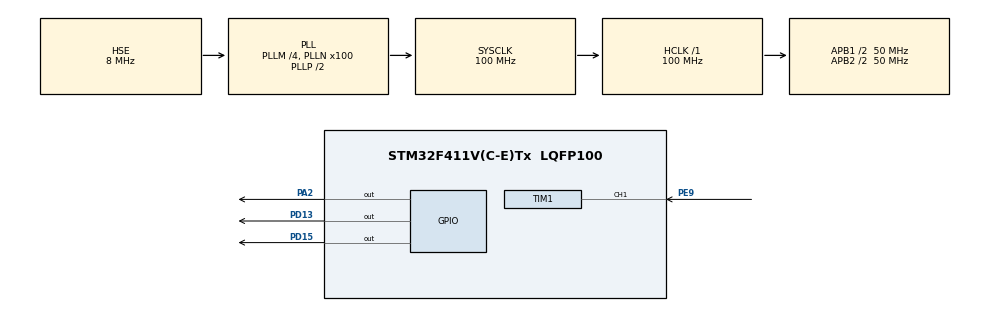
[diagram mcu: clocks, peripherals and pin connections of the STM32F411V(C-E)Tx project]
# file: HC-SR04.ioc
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Mcu.Family=STM32F4
Mcu.Name=STM32F411V(C-E)Tx
Mcu.Package=LQFP100
NVIC.PriorityGroup=NVIC_PRIORITYGROUP_0
NVIC.TIM1_CC_IRQn=true\:0\:0\:false\:false\:true\:true\:true
PA2.Signal=GPIO_Output
PD13.Signal=GPIO_Output
PD15.Signal=GPIO_Output
PE9.Signal=S_TIM1_CH1
PH0\ -\ OSC_IN.Mode=HSE-External-Oscillator
PH0\ -\ OSC_IN.Signal=RCC_OSC_IN
PH1\ -\ OSC_OUT.Mode=HSE-External-Oscillator
PH1\ -\ OSC_OUT.Signal=RCC_OSC_OUT
ProjectManager.HeapSize=0x200
ProjectManager.StackSize=0x400
ProjectManager.TargetToolchain=STM32CubeIDE
RCC.48MHZClocksFreq_Value=25000000
RCC.AHBFreq_Value=100000000
RCC.APB1CLKDivider=RCC_HCLK_DIV2
RCC.APB1Freq_Value=50000000
RCC.APB1TimFreq_Value=100000000
RCC.APB2CLKDivider=RCC_HCLK_DIV2
RCC.APB2Freq_Value=50000000
RCC.APB2TimFreq_Value=100000000
RCC.CortexFreq_Value=100000000
RCC.HCLKFreq_Value=100000000
RCC.HSE_VALUE=8000000
RCC.HSI_VALUE=16000000
RCC.LSE_VALUE=32768
RCC.PLLI2SM=5
RCC.PLLI2SN=200
RCC.PLLM=4
RCC.PLLN=100
RCC.PLLQ=8
RCC.PLLSourceVirtual=RCC_PLLSOURCE_HSE
RCC.SYSCLKFreq_VALUE=100000000
RCC.SYSCLKSource=RCC_SYSCLKSOURCE_PLLCLK
RCC.VCOOutputFreq_Value=200000000
SH.S_TIM1_CH1.0=TIM1_CH1,Input_Capture1_from_TI1
TIM1.Channel-Input_Capture1_from_TI1=TIM_CHANNEL_1
TIM1.Period=0xffff-1
TIM1.Prescaler=100-1
board=STM32F411E-DISCO

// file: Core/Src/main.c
/* USER CODE BEGIN Header */
/**
  ******************************************************************************
  * @file           : main.c
  * @brief          : Main program body
  ******************************************************************************
  * @attention
  *
  * <h2><center>&copy; Copyright (c) 2021 STMicroelectronics.
  * All rights reserved.</center></h2>
  *
  * This software component is licensed by ST under BSD 3-Clause license,
  * the "License"; You may not use this file except in compliance with the
  * License. You may obtain a copy of the License at:
  *                        opensource.org/licenses/BSD-3-Clause
  *
  ******************************************************************************
  */
/* USER CODE END Header */
#include "main.h"

TIM_HandleTypeDef htim1;

void SystemClock_Config(void);
static void MX_GPIO_Init(void);
static void MX_TIM1_Init(void);

/* USER CODE BEGIN 0 */

void delay (uint16_t time)
{
	__HAL_TIM_SET_COUNTER(&htim1, 0);
	while (__HAL_TIM_GET_COUNTER (&htim1) < time);
}

uint32_t IC_Val1 = 0;
uint32_t IC_Val2 = 0;
uint32_t Difference = 0;
uint8_t Is_First_Captured = 0;  // is the first value captured ?
uint8_t Distance  = 0;

void HAL_TIM_IC_CaptureCallback(TIM_HandleTypeDef *htim)
{
	if (htim->Channel == HAL_TIM_ACTIVE_CHANNEL_1)  // if the interrupt source is channel1
	{
		if (Is_First_Captured==0) // if the first value is not captured
		{
			IC_Val1 = HAL_TIM_ReadCapturedValue(htim, TIM_CHANNEL_1); // read the first value
			Is_First_Captured = 1;  // set the first captured as true
			// Now change the polarity to falling edge
			__HAL_TIM_SET_CAPTUREPOLARITY(htim, TIM_CHANNEL_1, TIM_INPUTCHANNELPOLARITY_FALLING);
		}

		else if (Is_First_Captured==1)   // if the first is already captured
		{
			IC_Val2 = HAL_TIM_ReadCapturedValue(htim, TIM_CHANNEL_1);  // read second value
			__HAL_TIM_SET_COUNTER(htim, 0);  // reset the counter

			if (IC_Val2 > IC_Val1)
			{
				Difference = IC_Val2-IC_Val1;
			}

			else if (IC_Val1 > IC_Val2)
			{
				Difference = (0xffff - IC_Val1) + IC_Val2;
			}

			Distance = Difference * .034/2;
			//Distance = Difference;
			Is_First_Captured = 0; // set it back to false

			// set polarity to rising edge
			__HAL_TIM_SET_CAPTUREPOLARITY(htim, TIM_CHANNEL_1, TIM_INPUTCHANNELPOLARITY_RISING);
			__HAL_TIM_DISABLE_IT(&htim1, TIM_IT_CC1);
		}
	}
}

void HCSR04_Read (void)
{
	HAL_GPIO_WritePin(GPIOA, GPIO_PIN_2, GPIO_PIN_SET); // pull the TRIG pin HIGH
	delay(10);  // wait for 10 us
	HAL_GPIO_WritePin(GPIOA, GPIO_PIN_2, GPIO_PIN_RESET);// pull the TRIG pin low

	__HAL_TIM_ENABLE_IT(&htim1, TIM_IT_CC1);
}

/* USER CODE END 0 */

int main(void)
{

  /* MCU Configuration--------------------------------------------------------*/

  /* Reset of all peripherals, Initializes the Flash interface and the Systick. */
  HAL_Init();

  /* Configure the system clock */
  SystemClock_Config();

  /* Initialize all configured peripherals */
  MX_GPIO_Init();
  MX_TIM1_Init();
  /* USER CODE BEGIN 2 */
  HAL_TIM_IC_Start_IT(&htim1, TIM_CHANNEL_1);
  /* USER CODE END 2 */

  /* Infinite loop */
  while (1)
  {

    /* USER CODE BEGIN 3 */
	HCSR04_Read();
	HAL_Delay(1000);
	if(Distance<10){
		HAL_GPIO_WritePin(GPIOD,GPIO_PIN_15,1);
		HAL_GPIO_WritePin(GPIOD,GPIO_PIN_13,0);
		}
	else{
		HAL_GPIO_WritePin(GPIOD,GPIO_PIN_15,0);
		HAL_GPIO_WritePin(GPIOD,GPIO_PIN_13,1);
	}

  }
  /* USER CODE END 3 */
}

void SystemClock_Config(void)
{
  RCC_OscInitTypeDef RCC_OscInitStruct = {0};
  RCC_ClkInitTypeDef RCC_ClkInitStruct = {0};

  /** Configure the main internal regulator output voltage
  */
  __HAL_RCC_PWR_CLK_ENABLE();
  __HAL_PWR_VOLTAGESCALING_CONFIG(PWR_REGULATOR_VOLTAGE_SCALE1);
  /** Initializes the RCC Oscillators according to the specified parameters
  * in the RCC_OscInitTypeDef structure.
  */
  RCC_OscInitStruct.OscillatorType = RCC_OSCILLATORTYPE_HSE;
  RCC_OscInitStruct.HSEState = RCC_HSE_ON;
  RCC_OscInitStruct.PLL.PLLState = RCC_PLL_ON;
  RCC_OscInitStruct.PLL.PLLSource = RCC_PLLSOURCE_HSE;
  RCC_OscInitStruct.PLL.PLLM = 4;
  RCC_OscInitStruct.PLL.PLLN = 100;
  RCC_OscInitStruct.PLL.PLLP = RCC_PLLP_DIV2;
  RCC_OscInitStruct.PLL.PLLQ = 8;
  if (HAL_RCC_OscConfig(&RCC_OscInitStruct) != HAL_OK)
  {
    Error_Handler();
  }
  /** Initializes the CPU, AHB and APB buses clocks
  */
  RCC_ClkInitStruct.ClockType = RCC_CLOCKTYPE_HCLK|RCC_CLOCKTYPE_SYSCLK
                              |RCC_CLOCKTYPE_PCLK1|RCC_CLOCKTYPE_PCLK2;
  RCC_ClkInitStruct.SYSCLKSource = RCC_SYSCLKSOURCE_PLLCLK;
  RCC_ClkInitStruct.AHBCLKDivider = RCC_SYSCLK_DIV1;
  RCC_ClkInitStruct.APB1CLKDivider = RCC_HCLK_DIV2;
  RCC_ClkInitStruct.APB2CLKDivider = RCC_HCLK_DIV2;

  if (HAL_RCC_ClockConfig(&RCC_ClkInitStruct, FLASH_LATENCY_3) != HAL_OK)
  {
    Error_Handler();
  }
}

static void MX_TIM1_Init(void)
{

  TIM_MasterConfigTypeDef sMasterConfig = {0};
  TIM_IC_InitTypeDef sConfigIC = {0};

  htim1.Instance = TIM1;
  htim1.Init.Prescaler = 100-1;
  htim1.Init.CounterMode = TIM_COUNTERMODE_UP;
  htim1.Init.Period = 0xffff-1;
  htim1.Init.ClockDivision = TIM_CLOCKDIVISION_DIV1;
  htim1.Init.RepetitionCounter = 0;
  htim1.Init.AutoReloadPreload = TIM_AUTORELOAD_PRELOAD_DISABLE;
  if (HAL_TIM_IC_Init(&htim1) != HAL_OK)
  {
    Error_Handler();
  }
  sMasterConfig.MasterOutputTrigger = TIM_TRGO_RESET;
  sMasterConfig.MasterSlaveMode = TIM_MASTERSLAVEMODE_DISABLE;
  if (HAL_TIMEx_MasterConfigSynchronization(&htim1, &sMasterConfig) != HAL_OK)
  {
    Error_Handler();
  }
  sConfigIC.ICPolarity = TIM_INPUTCHANNELPOLARITY_RISING;
  sConfigIC.ICSelection = TIM_ICSELECTION_DIRECTTI;
  sConfigIC.ICPrescaler = TIM_ICPSC_DIV1;
  sConfigIC.ICFilter = 0;
  if (HAL_TIM_IC_ConfigChannel(&htim1, &sConfigIC, TIM_CHANNEL_1) != HAL_OK)
  {
    Error_Handler();
  }

}

static void MX_GPIO_Init(void)
{
  GPIO_InitTypeDef GPIO_InitStruct = {0};

  /* GPIO Ports Clock Enable */
  __HAL_RCC_GPIOH_CLK_ENABLE();
  __HAL_RCC_GPIOA_CLK_ENABLE();
  __HAL_RCC_GPIOE_CLK_ENABLE();
  __HAL_RCC_GPIOD_CLK_ENABLE();

  /*Configure GPIO pin Output Level */
  HAL_GPIO_WritePin(GPIOA, GPIO_PIN_2, GPIO_PIN_RESET);

  /*Configure GPIO pin Output Level */
  HAL_GPIO_WritePin(GPIOD, GPIO_PIN_13|GPIO_PIN_15, GPIO_PIN_RESET);

  /*Configure GPIO pin : PA2 */
  GPIO_InitStruct.Pin = GPIO_PIN_2;
  GPIO_InitStruct.Mode = GPIO_MODE_OUTPUT_PP;
  GPIO_InitStruct.Pull = GPIO_NOPULL;
  GPIO_InitStruct.Speed = GPIO_SPEED_FREQ_LOW;
  HAL_GPIO_Init(GPIOA, &GPIO_InitStruct);

  /*Configure GPIO pins : PD13 PD15 */
  GPIO_InitStruct.Pin = GPIO_PIN_13|GPIO_PIN_15;
  GPIO_InitStruct.Mode = GPIO_MODE_OUTPUT_PP;
  GPIO_InitStruct.Pull = GPIO_NOPULL;
  GPIO_InitStruct.Speed = GPIO_SPEED_FREQ_LOW;
  HAL_GPIO_Init(GPIOD, &GPIO_InitStruct);

}

void Error_Handler(void)
{
  __disable_irq();
  while (1)
  {
  }
}

/************************ (C) COPYRIGHT STMicroelectronics *****END OF FILE****/
